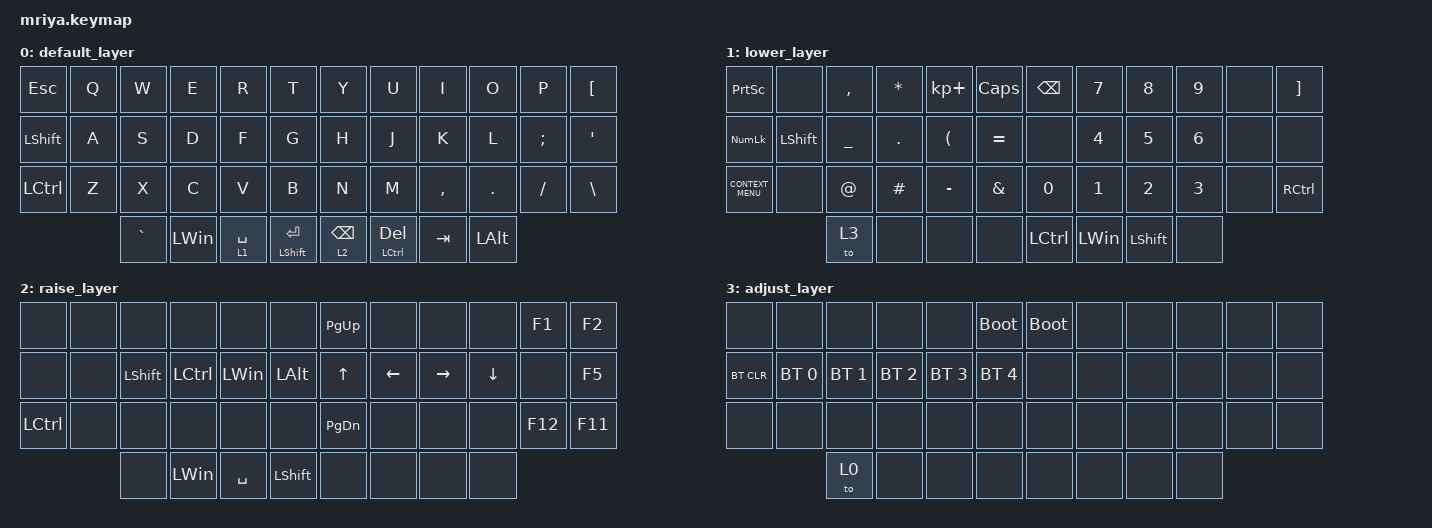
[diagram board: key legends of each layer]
/*
 * Copyright (c) 2023 Andrei Gaevskii
 *
 * SPDX-License-Identifier: MIT
 */

#include <behaviors.dtsi>
#include <dt-bindings/zmk/bt.h>
#include <dt-bindings/zmk/keys.h>

#define DEF 0
#define LWR 1
#define RSE 2
#define ADJ 3

&lt { quick_tap_ms = <200>; };

&mt {
    quick_tap_ms = <150>;
    flavor = "balanced";
};

/ {
    combos {
        compatible = "zmk,combos";

        home {
            bindings = <&kp HOME>;
            key-positions = <15 16 14>;
        };

        end {
            bindings = <&kp END>;
            key-positions = <19 20 21>;
        };

        tab_r {
            bindings = <&kp TAB>;
            key-positions = <20 21>;
        };

        tab_l {
            bindings = <&kp TAB>;
            key-positions = <15 14>;
        };

        volume_up {
            bindings = <&kp C_VOLUME_UP>;
            key-positions = <11 10>;
        };

        volume_down {
            bindings = <&kp C_VOLUME_DOWN>;
            key-positions = <34 35>;
        };
    };

    keymap {
        compatible = "zmk,keymap";

        default_layer {
            bindings = <
  &kp ESCAPE        &kp Q  &kp W      &kp E         &kp R        &kp T                    &kp Y            &kp U             &kp I      &kp O         &kp P     &kp LBKT
  &kp LEFT_SHIFT    &kp A  &kp S      &kp D         &kp F        &kp G                    &kp H            &kp J             &kp K      &kp L         &kp SEMI  &kp SQT
  &kp LEFT_CONTROL  &kp Z  &kp X      &kp C         &kp V        &kp B                    &kp N            &kp M             &kp COMMA  &kp DOT       &kp FSLH  &kp BACKSLASH
                           &kp GRAVE  &kp LEFT_WIN  &lt 1 SPACE  &mt LEFT_SHIFT RETURN    &lt 2 BACKSPACE  &mt LCTRL DELETE  &kp TAB    &kp LEFT_ALT
            >;
        };

        lower_layer {
            bindings = <
  &kp PRINTSCREEN     &none           &kp COMMA       &kp ASTERISK  &kp KP_PLUS           &kp CAPSLOCK     &kp BACKSPACE  &kp NUMBER_7  &kp NUMBER_8    &kp NUMBER_9  &none  &kp RIGHT_BRACKET
  &kp KP_NUMLOCK      &kp LEFT_SHIFT  &kp UNDERSCORE  &kp PERIOD    &kp LEFT_PARENTHESIS  &kp EQUAL        &none          &kp NUMBER_4  &kp NUMBER_5    &kp NUMBER_6  &none  &none
  &kp K_CONTEXT_MENU  &none           &kp AT_SIGN     &kp HASH      &kp MINUS             &kp AMPERSAND    &kp NUMBER_0   &kp NUMBER_1  &kp NUMBER_2    &kp NUMBER_3  &none  &kp RIGHT_CONTROL
                                      &to 3           &none         &none                 &none            &kp LCTRL      &kp LWIN      &kp LEFT_SHIFT  &none
            >;
        };

        raise_layer {
            bindings = <
  &none             &none  &none      &none         &none      &none             &kp PG_UP      &none     &none      &none     &kp F1   &kp F2
  &none             &none  &kp LSHFT  &kp LCTRL     &kp LWIN   &kp LALT          &kp UP_ARROW   &kp LEFT  &kp RIGHT  &kp DOWN  &none    &kp F5
  &kp LEFT_CONTROL  &none  &none      &none         &none      &none             &kp PAGE_DOWN  &none     &none      &none     &kp F12  &kp F11
                           &none      &kp LEFT_WIN  &kp SPACE  &kp LEFT_SHIFT    &none          &none     &none      &none
            >;
        };

        adjust_layer {
            bindings = <
  &none       &none         &none         &none         &none         &bootloader     &bootloader  &none  &none  &none  &none  &none
  &bt BT_CLR  &bt BT_SEL 0  &bt BT_SEL 1  &bt BT_SEL 2  &bt BT_SEL 3  &bt BT_SEL 4    &none        &none  &none  &none  &none  &none
  &none       &none         &none         &none         &none         &none           &none        &none  &none  &none  &none  &none
                            &to 0         &none         &none         &none           &none        &none  &none  &none
            >;
        };
    };
};
